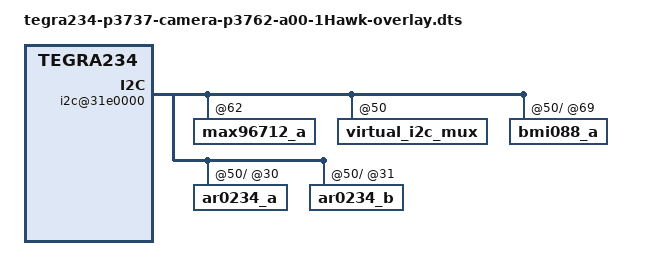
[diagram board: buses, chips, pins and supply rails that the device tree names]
// SPDX-License-Identifier: GPL-2.0-only
// SPDX-FileCopyrightText: Copyright (c) 2024, NVIDIA CORPORATION & AFFILIATES. All rights reserved.

/dts-v1/;
/plugin/;

#include "tegra234-p3737-camera-p3762-a00.dtsi"
#include "dt-bindings/gpio/tegra234-gpio.h"
#include "dt-bindings/clock/tegra234-clock.h"
#include <dt-bindings/tegra234-p3737-0000+p3701-0000.h>

/* camera control gpio definitions */
#define CAM0_RST_L      TEGRA234_MAIN_GPIO(H, 3)
#define CAM0_PWDN       TEGRA234_MAIN_GPIO(H, 6)
#define CAM1_RST_L      TEGRA234_MAIN_GPIO(AC, 1)
#define CAM1_PWDN       TEGRA234_MAIN_GPIO(AC, 0)
#define PWR_EN      TEGRA234_MAIN_GPIO(AC, 7)
#define GYRO1_IRQ_GPIO  TEGRA234_AON_GPIO(CC, 1)
#define ACCE1_IRQ_GPIO  TEGRA234_AON_GPIO(CC, 0)

/ {
	overlay-name = "Jetson Camera 1-Hawk p3762 module";
	jetson-header-name = "Jetson AGX CSI Connector";
	compatible = JETSON_COMPATIBLE;

	fragment-camera-hawk-owl@0 {
		target-path = "/";
		__overlay__ {
			tegra-capture-vi {
				num-channels = <2>;
				ports {
					#address-cells = <1>;
					#size-cells = <0>;
					port@0 {
						status = "okay";
					};
					port@1 {
						status = "okay";
					};
					port@2 {
						status = "disabled";
					};
					port@3 {
						status = "disabled";
					};
					port@4 {
						status = "disabled";
					};
					port@5 {
						status = "disabled";
					};
					port@6 {
						status = "disabled";
					};
					port@7 {
						status = "disabled";
					};
					port@8 {
						status = "disabled";
					};
					port@9 {
						status = "disabled";
					};
					port@10 {
						status = "disabled";
					};
					port@11 {
						status = "disabled";
					};
				};
			};
			bus@0 {
				host1x@13e00000 {
					nvcsi@15a00000 {
						num-channels = <2>;
						#address-cells = <1>;
						#size-cells = <0>;
						channel@0 {
							status = "okay";
						};
						channel@1 {
							status = "okay";
						};
						channel@2 {
							status = "disabled";
						};
						channel@3 {
							status = "disabled";
						};
						channel@4 {
							status = "disabled";
						};
						channel@5 {
							status = "disabled";
						};
						channel@6 {
							status = "disabled";
						};
						channel@7 {
							status = "disabled";
						};
						channel@8 {
							status = "disabled";
						};
						channel@9 {
							status = "disabled";
						};
						channel@10 {
							status = "disabled";
						};
						channel@11 {
							status = "disabled";
						};
					};
				};
				i2c@3180000 {
					max96712_b@62 {
						status = "disabled";
					};
					ar0234_i@30 {
						status = "disabled";
					};
					ar0234_j@32 {
						status = "disabled";
					};
					ar0234_k@34 {
						status = "disabled";
					};
					ar0234_l@36 {
						status = "disabled";
					};
				};
				i2c@31e0000 {
					max96712_a@62 {
						status = "okay";
					};
					virtual_i2c_mux@50 {
						status = "okay";
						i2c@0 {
							bmi088_a@69 {
								status = "okay";
							};
							ar0234_a@30 {
								status = "okay";
							};
							ar0234_b@31 {
								status = "okay";
							};
						};
						i2c@1 {
							ar0234_c@32 {
								status = "disabled";
							};
							ar0234_d@33 {
								status = "disabled";
							};
							ar0234_e@34 {
								status = "disabled";
							};
							ar0234_f@35 {
								status = "disabled";
							};
							ar0234_g@36 {
								status = "disabled";
							};
							ar0234_h@37 {
								status = "disabled";
							};
						};
					};
				};
			};
		};
	};
};
